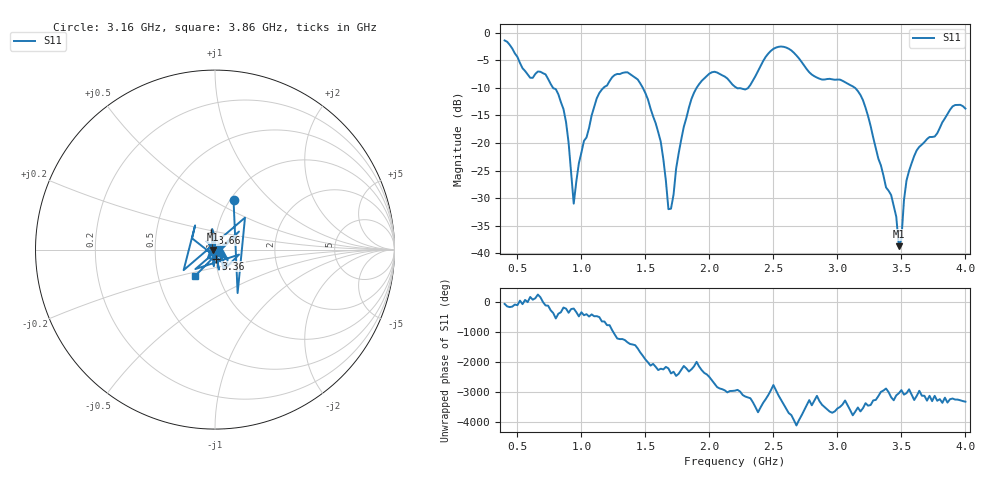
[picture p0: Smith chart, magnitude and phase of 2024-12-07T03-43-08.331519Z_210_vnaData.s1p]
!Created with skrf (http://scikit-rf.org).
# Hz S RI R 50.0
!freq ReS11 ImS11
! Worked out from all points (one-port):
!   181 points, 400 MHz to 4 GHz, reference 50 ohm
!   lowest |S11| = -38.7 dB at 3.48 GHz (marker M1), VSWR 1.02, Z = 48.9 - j0.0806 ohm
!   |S11| at or under -10 dB: 778.5 MHz to 1.172 GHz (393.7 MHz wide, 40.4 % of centre); 1.48 GHz to 1.9 GHz (419.4 MHz wide, 24.8 % of centre); 3.138 GHz to end of sweep (the widest 3 of 4)
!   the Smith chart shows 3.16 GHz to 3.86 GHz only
!   S11 on the Smith chart (normalised r, x): 3.16 GHz: 1.04, +0.63; 3.36 GHz: 1.01, -0.10; 3.66 GHz: 0.94, +0.18; 3.86 GHz: 0.77, -0.23
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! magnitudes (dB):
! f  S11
! 400 MHz  -1.4
! 600 MHz  -8.2
! 720 MHz  -7.5
! 860 MHz  -13.8
! 900 MHz  -20.0
! 940 MHz  -31.0
! 980 MHz  -23.7
! 1.12 GHz  -11.9
! 1.3 GHz  -7.5
! 1.52 GHz  -12.1
! 1.62 GHz  -19.8
! 1.68 GHz  -32.0
! 1.76 GHz  -21.9
! 1.86 GHz  -12.0
! 1.94 GHz  -8.7
! 2.2 GHz  -9.8
! 2.3 GHz  -10.1
! 2.5 GHz  -2.9
! 2.66 GHz  -3.6
! 3.1 GHz  -9.5
! 3.16 GHz  -10.6
! 3.36 GHz  -25.9
! 3.46 GHz  -33.4
! 3.48 GHz  -38.7
! 3.56 GHz  -25.1
! 3.66 GHz  -20.3
! 3.86 GHz  -14.8
! 4 GHz  -13.8
